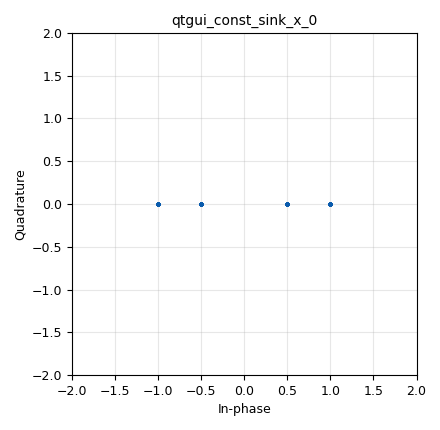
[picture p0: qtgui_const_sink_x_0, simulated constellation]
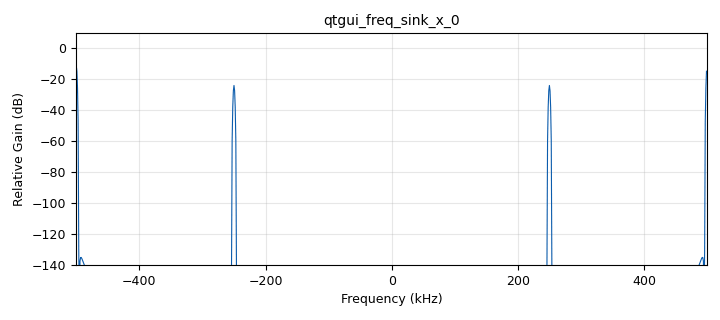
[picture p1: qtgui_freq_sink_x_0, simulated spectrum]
options:
  parameters:
    generate_options: qt_gui
    id: tx
    output_language: python
    title: Not titled yet
  states: {}

blocks:
- name: interpolation
  id: variable
  parameters:
    value: '8'
  states: {}
- name: samp_rate
  id: variable
  parameters:
    value: 1e6
  states: {}
- name: blocks_multiply_const_vxx_0
  id: blocks_multiply_const_vxx
  parameters:
    const: '1'
    type: complex
  states: {}
- name: blocks_vector_source_x_0
  id: blocks_vector_source_x
  parameters:
    repeat: 'True'
    type: complex
    vector: '[1+0j, -1+0j, 0.5+0j, -0.5+0j]'
  states: {}
- name: qtgui_const_sink_x_0
  id: qtgui_const_sink_x
  parameters:
    size: '1024'
    type: complex
  states: {}
- name: qtgui_freq_sink_x_0
  id: qtgui_freq_sink_x
  parameters:
    bw: samp_rate
    fc: '0'
    fftsize: '1024'
    tr_tag: '"packet_len"'
    type: complex
  states: {}
- name: qtgui_time_sink_x_0
  id: qtgui_time_sink_x
  parameters:
    size: '1024'
    srate: samp_rate/interpolation
    tr_mode: qtgui.TRIG_MODE_TAG
    tr_tag: '"packet_len"'
    type: complex
  states: {}
- name: uhd_usrp_sink_0
  id: uhd_usrp_sink
  parameters:
    ant0: '"TX/RX"'
    bw0: 1e6
    center_freq0: 2.45e9
    clock_source0: internal
    dev_addr: '"addr=192.168.10.2"'
    gain0: '20'
    samp_rate: samp_rate
    sd_spec0: B:0
    sync: sync
    type: fc32
  states: {}

connections:
- [blocks_multiply_const_vxx_0, '0', qtgui_const_sink_x_0, '0']
- [blocks_multiply_const_vxx_0, '0', qtgui_freq_sink_x_0, '0']
- [blocks_multiply_const_vxx_0, '0', qtgui_time_sink_x_0, '0']
- [blocks_multiply_const_vxx_0, '0', uhd_usrp_sink_0, '0']
- [blocks_vector_source_x_0, '0', blocks_multiply_const_vxx_0, '0']

metadata:
  file_format: 1
  grc_version: 3.10.9.2
